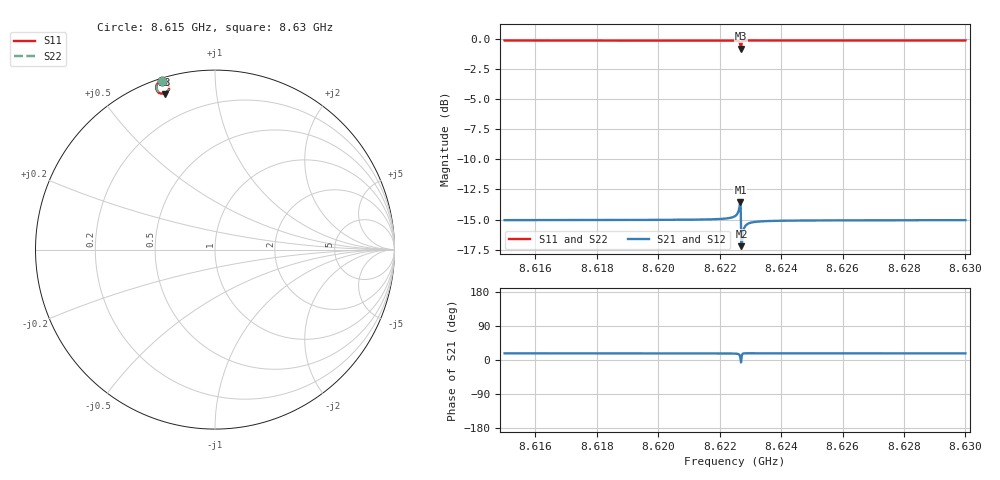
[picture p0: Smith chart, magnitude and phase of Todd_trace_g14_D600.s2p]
! Sonnet Data File
! From: emgraph Version : 16.52
! From Project: 171114transmon_trace_brg
! Data is De-embedded
! Data File Written: 11/14/2017 19:58:17
!< HDATE 11/14/2017 18:03:22
!< MDATE 11/14/2017 18:03:22
!< PARAMS
!< Lj = 15.24
!< Gap = 14.0
!< Width = 10.0
!< Airgap = 6.0
!< Pwidth = 2000.0
!< Dist = 600.0
!< END PARAMS
# GHZ S MA R 34.87000
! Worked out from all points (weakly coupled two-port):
!   3597 points, 8.615 GHz to 8.63 GHz, reference 34.87 ohm
!   highest |S21| = -13.53 dB at 8.62268 GHz (marker M1); lowest = -17.2 dB at 8.62271 GHz (marker M2)
!   lowest |S11| = -0.8 dB at 8.62269 GHz (marker M3), VSWR 21.41, Z = 2.49 + j25.3 ohm
!   |S11| at or under -10 dB: nowhere
!   |S22| runs from -0.8 to -0.1 dB; largest |S21 - S12| = 1.7e-12
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8.615  0.9842 107.6  0.1769 17.6  0.1769 17.6  0.9842 107.5
!< P1 F=8.615 Eeff=(5.13377404 -5.6313e-5) Z0=(34.6595714 -9.1612e-5) R=0.0 C=0.0
!< P2 F=8.615 Eeff=(5.13377404 -5.6313e-5) Z0=(34.6595714 -9.1612e-5) R=0.0 C=0.0
8.6175  0.9842 107.6  0.1771 17.5  0.1771 17.5  0.9842 107.5
8.62  0.9841 107.5  0.1773 17.5  0.1773 17.5  0.9841 107.5
8.62196  0.9838 107.4  0.1787 17.4  0.1787 17.4  0.9838 107.4
8.622305  0.9834 107.3  0.1804 17.3  0.1804 17.3  0.9834 107.3
8.6225  0.9823 107.1  0.1838 16.9  0.1838 16.9  0.9823 107.1
8.622575  0.9804 106.9  0.1879 16.3  0.1879 16.3  0.9804 106.9
8.622605  0.9783 106.7  0.1913 15.7  0.1913 15.7  0.9784 106.7
8.62263  0.9746 106.4  0.1961 14.7  0.1961 14.7  0.9748 106.4
8.622675  0.9382 105.7  0.2106 5.0  0.2106 5.0  0.9395 105.8
8.62269  0.9107 107.8  0.1871 -5.2  0.1871 -5.2  0.9131 107.8
8.62271  0.9527 110.1  0.1379 4.1  0.1379 4.1  0.9539 110.0
8.622755  0.9819 108.8  0.1559 16.6  0.1559 16.6  0.9821 108.7
8.62278  0.9837 108.4  0.1615 17.3  0.1615 17.3  0.9838 108.4
8.62279  0.9841 108.4  0.163 17.4  0.163 17.4  0.9842 108.3
8.622815  0.9845 108.2  0.1657 17.6  0.1657 17.6  0.9846 108.1
8.622885  0.9848 108.0  0.1698 17.7  0.1698 17.7  0.9848 107.9
8.623105  0.9847 107.7  0.1736 17.7  0.1736 17.7  0.9847 107.7
8.62366  0.9844 107.6  0.1755 17.6  0.1755 17.6  0.9844 107.6
8.625  0.9843 107.5  0.1764 17.5  0.1764 17.5  0.9843 107.5
8.6275  0.9843 107.5  0.1767 17.5  0.1767 17.5  0.9843 107.5
8.63  0.9842 107.5  0.1769 17.5  0.1769 17.5  0.9842 107.4
